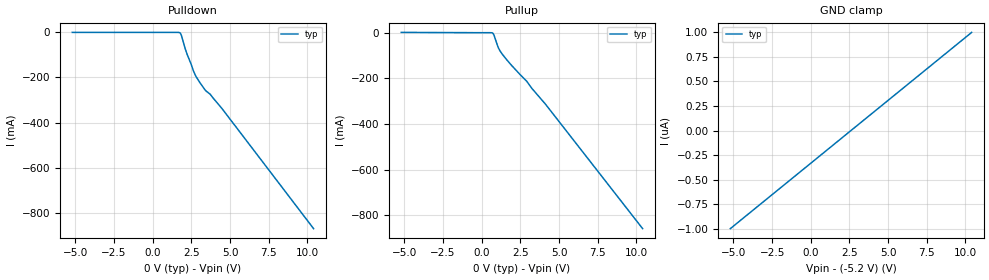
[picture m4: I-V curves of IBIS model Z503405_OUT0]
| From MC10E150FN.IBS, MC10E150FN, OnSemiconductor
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| (C) COPYRIGHT 1993-2000
| MENTOR GRAPHICS CORPORATION
| ICX STANDARD LIBRARY, ICX PROJECT MODELING,
| ICX CUSTOM MODELING, ICX VENDOR MODEL
| ALL RIGHTS RESERVED.
| THE FOLLOWING ARE TRADEMARKS OR SERVICE MARKS OF
| MENTOR GRAPHICS CORPORATION:ICX (R), ICX STANDARD
| LIBRARY(R), ICX PROJECT MODELING(R), ICX CUSTOM
| MODELING(R), qualityIBIS(TM), MODELVIEWER(TM),
| AND MODELEDITOR(TM)
| ALL COPIES OF SOFTWARE, INCLUDING BUT NOT LIMITED TO
| ANY MODIFICATIONS, ENHANCEMENTS OR DERIVATIVE WORKS,
| MUST CONTAIN ALL MENTOR GRAPHICS CORPORATION'S
| NOTICES AND LEGENDS, INCLUDING THOSE EMBEDDED IN
| SOFTWARE AND THOSE AFFIXED TO SOFTWARE MEDIUM
| AND CONTAINER, AS RECEIVED FROM MENTOR GRAPHICS
| CORPORATION.
| Model Application Version 1.89 2/18/99.
[Model] Z503405_OUT0
Model_type Output_ECL
Vref=-2.000V
Rref=50.00ohms
Cref=0.000F
Vmeas=-1.305V
C_comp 8.000pF NA NA
| variable typ   min   max
[Voltage Range] -5.200V NA NA
[POWER Clamp Reference] 0.000V NA NA
[Pullup Reference] 0.000V NA NA
[Pulldown Reference] 0.000V NA NA
[GND Clamp Reference] -5.200V NA NA
[GND Clamp]
-5.2V     -1uA       NA         NA
10.4V     1uA        NA         NA
[Pulldown]
-5.2V     38.93uA    NA         NA
1.782V    -3.077mA   NA         NA
1.865V    -15.36mA   NA         NA
2.232V    -98.42mA   NA         NA
2.489V    -141.5mA   NA         NA
2.632V    -170.6mA   NA         NA
2.788V    -194.3mA   NA         NA
3.057V    -223.4mA   NA         NA
3.379V    -254.8mA   NA         NA
3.719V    -274.5mA   NA         NA
4.487V    -338.7mA   NA         NA
10.4V     -871mA     NA         NA
[Pullup]
-5.2V     1.278mA    NA         NA
726.9mV   -2.683mA   NA         NA
795.5mV   -10.98mA   NA         NA
1.055V    -63.28mA   NA         NA
1.323V    -93.64mA   NA         NA
1.946V    -145.8mA   NA         NA
2.91V     -213mA     NA         NA
3.253V    -245.2mA   NA         NA
4.116V    -313mA     NA         NA
10.4V     -859mA     NA         NA
[POWER Clamp]
-5.2V     0A         NA         NA
10.4V     0A         NA         NA
[Ramp]
| variable typ min max
dV/dt_r 596.7m/267.6p NA NA
dV/dt_f 596.7m/252.3p NA NA
R_load = 500.0Ohms
